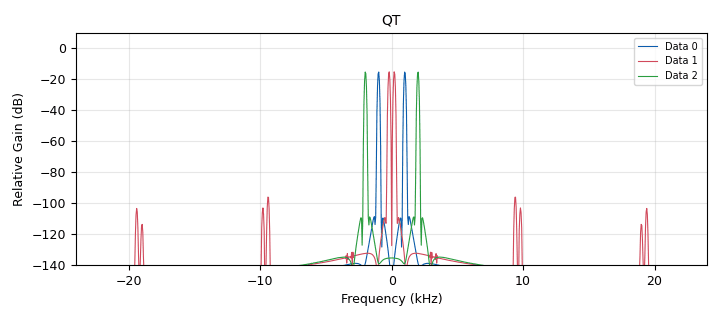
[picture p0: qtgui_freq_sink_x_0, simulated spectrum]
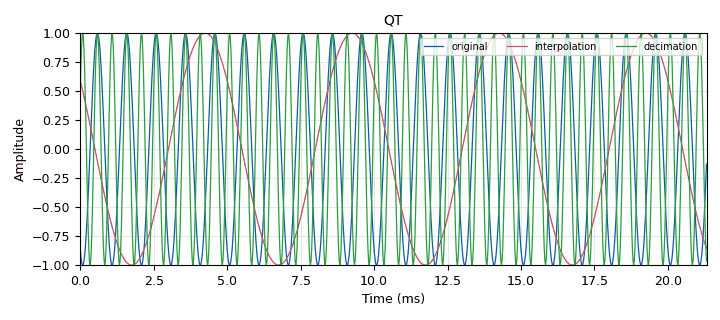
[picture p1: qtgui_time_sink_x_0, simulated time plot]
options:
  parameters:
    author: Barrios_Cogollo
    copyright: Uis
    description: Diezmar y Polarizar
    generate_options: qt_gui
    id: Practica_1
    output_language: python
    title: 'Diezamr_e_Polarizar '
  states: {}

blocks:
- name: samp_rate
  id: variable
  parameters:
    value: '48000'
  states: {}
- name: analog_sig_source_x_0
  id: analog_sig_source_x
  parameters:
    amp: '1'
    freq: '1000'
    offset: '0'
    phase: '0'
    samp_rate: samp_rate
    type: float
    waveform: analog.GR_COS_WAVE
  states: {}
- name: analog_sig_source_x_1
  id: analog_sig_source_x
  parameters:
    amp: '1'
    freq: '1000'
    offset: '0'
    phase: '0'
    samp_rate: samp_rate
    type: float
    waveform: analog.GR_COS_WAVE
  states: {}
- name: analog_sig_source_x_2
  id: analog_sig_source_x
  parameters:
    amp: '1'
    freq: '1000'
    offset: '0'
    phase: '0'
    samp_rate: samp_rate
    type: float
    waveform: analog.GR_COS_WAVE
  states: {}
- name: blocks_throttle_0
  id: blocks_throttle
  parameters:
    samples_per_second: samp_rate
    type: float
  states: {}
- name: qtgui_freq_sink_x_0
  id: qtgui_freq_sink_x
  parameters:
    bw: samp_rate
    fc: '0'
    fftsize: '1024'
    name: QT
    nconnections: '3'
    type: float
    wintype: firdes.WIN_BLACKMAN_hARRIS
  states: {}
- name: qtgui_time_sink_x_0
  id: qtgui_time_sink_x
  parameters:
    label1: original
    label2: interpolation
    label3: decimation
    name: QT
    nconnections: '3'
    size: '1024'
    srate: samp_rate
    type: float
  states: {}
- name: rational_resampler_xxx_0
  id: rational_resampler_xxx
  parameters:
    decim: '1'
    fbw: '0.1'
    interp: '1'
    taps: ''
    type: fff
  states: {}
- name: rational_resampler_xxx_1
  id: rational_resampler_xxx
  parameters:
    decim: '1'
    fbw: '0.1'
    interp: '5'
    taps: ''
    type: fff
  states: {}
- name: rational_resampler_xxx_2
  id: rational_resampler_xxx
  parameters:
    decim: '2'
    fbw: '0.1'
    interp: '1'
    taps: ''
    type: fff
  states: {}

connections:
- [analog_sig_source_x_0, '0', rational_resampler_xxx_0, '0']
- [analog_sig_source_x_1, '0', rational_resampler_xxx_1, '0']
- [analog_sig_source_x_2, '0', rational_resampler_xxx_2, '0']
- [blocks_throttle_0, '0', qtgui_freq_sink_x_0, '0']
- [blocks_throttle_0, '0', qtgui_time_sink_x_0, '0']
- [rational_resampler_xxx_0, '0', blocks_throttle_0, '0']
- [rational_resampler_xxx_1, '0', qtgui_freq_sink_x_0, '1']
- [rational_resampler_xxx_1, '0', qtgui_time_sink_x_0, '1']
- [rational_resampler_xxx_2, '0', qtgui_freq_sink_x_0, '2']
- [rational_resampler_xxx_2, '0', qtgui_time_sink_x_0, '2']

metadata:
  file_format: 1
